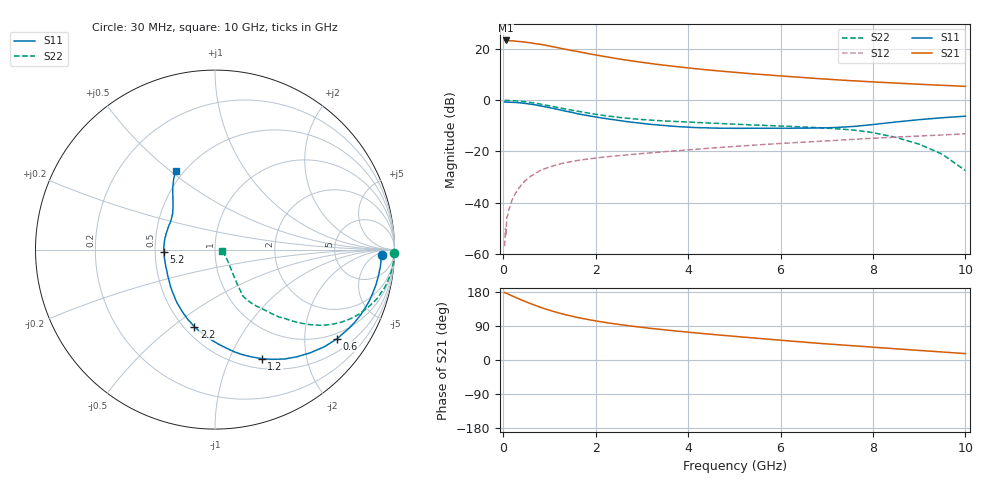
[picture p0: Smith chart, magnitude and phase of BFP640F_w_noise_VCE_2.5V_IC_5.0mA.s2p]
! Infineon Technologies  Discrete & RF Semiconductors
! BFP640F
! VCE =  2.5 V,  IC =  5.0 mA
! Common Emitter S-Parameters:  Apr 2013
# GHz  S  MA  R  50
!  f  S11  S21  S12  S22
! GHz  MAG  ANG  MAG  ANG  MAG  ANG  MAG  ANG
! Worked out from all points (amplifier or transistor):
!   99 points, 30 MHz to 10 GHz, reference 50 ohm
!   highest |S21| = 23.5 dB at 50 MHz (marker M1)
!   |S21| within 3 dB of that: start of sweep to 1.224 GHz
!   unconditionally stable (mu >= 1): 4.233 GHz to end of sweep
!   at 350 MHz: K = 0.08, MSG = 28.6 dB, |S12| = -34.1 dB
!   at 3.5 GHz: K = 0.93, MSG = 16.9 dB, |S12| = -20.1 dB
!   at 10 GHz: K = 1.11, MAG = 7.3 dB, |S12| = -13.1 dB
!   lowest NFmin = 0.52 dB at 450 MHz
!   S11 on the Smith chart (normalised r, x): 30 MHz: 23, -10; 600 MHz: 0.83, -2.85; 1.2 GHz: 0.61, -1.33; 2.2 GHz: 0.56, -0.60; 5.2 GHz: 0.56, -0.02; 10 GHz: 0.45, +0.52
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0.03  0.9294 -1.9  14.73 178.2  0.0014 53.6  0.9984 -1.1
0.04  0.9291 -2.5  14.67 177.7  0.0022 83.8  0.9986 -1.4
0.05  0.9277 -3.1  14.92 177.3  0.0031 90.2  0.9983 -1.8
0.06  0.9261 -3.7  14.81 176.4  0.0023 88.3  0.9964 -2.2
0.08  0.9262 -5.0  14.83 175.4  0.0052 92.8  0.9973 -2.9
0.2  0.9181 -12.4  14.65 168.8  0.0117 83.2  0.9888 -7.4
0.35  0.8972 -21.4  14.22 160.8  0.0197 80.5  0.9674 -12.9
0.45  0.878 -27.4  13.93 155.6  0.0253 77.7  0.9473 -16.3
0.6  0.8424 -36.1  13.33 148.4  0.033 72.7  0.9073 -21.2
0.8  0.7819 -47.4  12.58 139.3  0.0424 67.5  0.8479 -27.0
0.9  0.7518 -52.6  12.12 135.2  0.0461 65.2  0.8155 -29.6
1.2  0.6614 -66.8  10.66 124.3  0.0562 59.2  0.7206 -35.8
1.5  0.5797 -79.3  9.4 115.3  0.064 54.8  0.6386 -40.1
1.7  0.5293 -87.5  8.728 109.9  0.0685 52.8  0.5928 -42.4
2.2  0.4443 -105.0  7.22 99.2  0.078 48.9  0.5041 -47.1
2.8  0.3726 -122.7  5.912 89.1  0.0878 46.6  0.4376 -50.5
3.4  0.327 -138.1  4.995 80.8  0.0975 44.9  0.4001 -53.0
5.1  0.2846 -175.1  3.491 61.4  0.1271 41.1  0.3398 -57.1
5.2  0.2843 -177.1  3.432 60.4  0.1289 40.8  0.3367 -57.2
6.7  0.2881 155.3  2.72 45.3  0.1557 36.2  0.2955 -59.0
8.5  0.3781 128.4  2.184 29.5  0.1913 29.6  0.1891 -55.2
10  0.4909 116.6  1.887 16.9  0.2214 22.9  0.0423 -11.7
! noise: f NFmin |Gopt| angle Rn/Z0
0.45  0.52  0.39  9  0.12
0.9  0.54  0.39  20  0.12
1.5  0.58  0.37  28  0.13
1.9  0.6  0.35  43  0.13
2.4  0.65  0.32  59  0.14
3.5  0.75  0.26  79  0.15
5.5  0.99  0.21  151  0.17
10  1.71  0.44  -104  0.36
